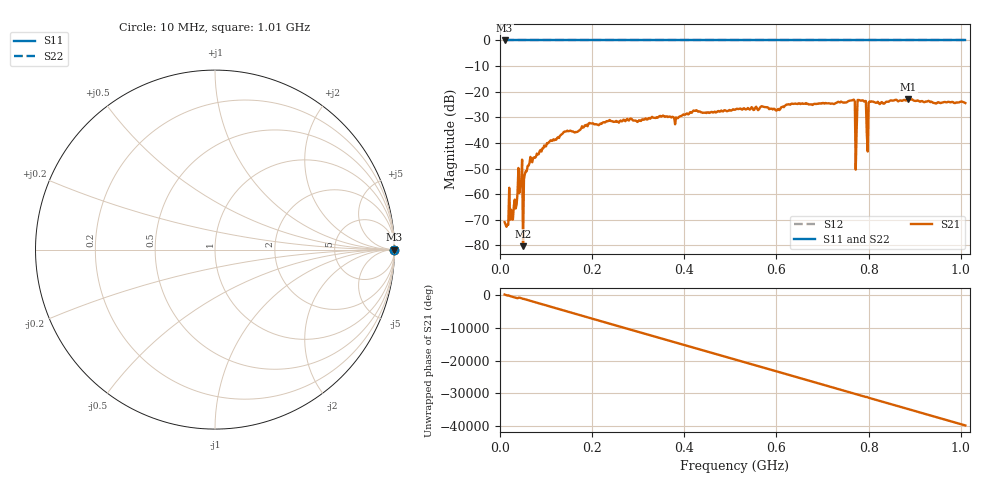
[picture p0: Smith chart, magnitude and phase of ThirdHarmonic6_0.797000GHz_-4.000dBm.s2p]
! 8/16/2025 2:34:26 AM
! C:\ANRITSUVNA\TEMP\TEMP.S2P
! CHANNEL.1
! TR.MEASUREMENT
! RAW.DATA
! RF.CORRECTION.OFF
! AVERAGING.OFF
! IF.BANDWIDTH: 5KHZ
! SWEEPTYPE:  FREQ.SWEEP(Linear)
! Reference Plane Port Info
! PORT:  PORT1  PORT2
! DISTANCE:  0  m  0  m
! TIME:  0  s  0  s
! PHASE.OFFSET:  0  deg.  0  deg.
! LOSS:  0  dB  0  dB
! REF.LOSS:  0  dB  0  dB
! REF.FREQ:  0  Hz  0  Hz
! Power Info
! POWER:  -20  dBm  -20  dBm
! EFF.POWER:  -20  dBm  -20  dBm
! SOURCE.ATTEN:  0  dB  0  dB
! TEST.ATTEN:  0  dB  0  dB
# GHZ S RI R 50.0
! FREQ.GHZ  S11RE  S11IM  S21RE  S21IM  S12RE  S12IM  S22RE  S22IM
!; PortSelection: Port_12
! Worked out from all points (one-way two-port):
!   501 points, 10 MHz to 1.01 GHz, reference 50 ohm
!   highest |S21| = -22.85 dB at 886 MHz (marker M1); lowest = -80.3 dB at 50 MHz (marker M2)
!   lowest |S11| = 0.0 dB at 10 MHz (marker M3)
!   |S11| at or under -10 dB: nowhere
!   |S22| runs from 0.0 to 0.0 dB; largest |S21 - S12| = 1.1
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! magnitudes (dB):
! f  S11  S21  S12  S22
! 10 MHz  0.0  -70.9  0.0  0.0
! 30 MHz  0.0  -64.8  0.0  0.0
! 44 MHz  0.0  -56.1  0.0  0.0
! 46 MHz  0.0  -55.3  0.0  0.0
! 50 MHz  0.0  -80.3  0.0  0.0
! 64 MHz  0.0  -47.9  0.0  0.0
! 106 MHz  0.0  -39.7  0.0  0.0
! 178 MHz  0.0  -33.5  0.0  0.0
! 344 MHz  0.0  -29.8  0.0  0.0
! 510 MHz  0.0  -27.1  0.0  0.0
! 678 MHz  0.0  -25.2  0.0  0.0
! 766 MHz  0.0  -23.2  0.0  0.0
! 770 MHz  0.0  -23.9  0.0  0.0
! 774 MHz  0.0  -34.9  0.0  0.0
! 780 MHz  0.0  -23.3  0.0  0.0
! 790 MHz  0.0  -23.8  0.0  0.0
! 794 MHz  0.0  -23.7  0.0  0.0
! 800 MHz  0.0  -24.4  0.0  0.0
! 804 MHz  0.0  -23.9  0.0  0.0
! 844 MHz  0.0  -23.9  0.0  0.0
! 886 MHz  0.0  -22.9  0.0  0.0
! 1.01 GHz  0.0  -24.4  0.0  0.0
